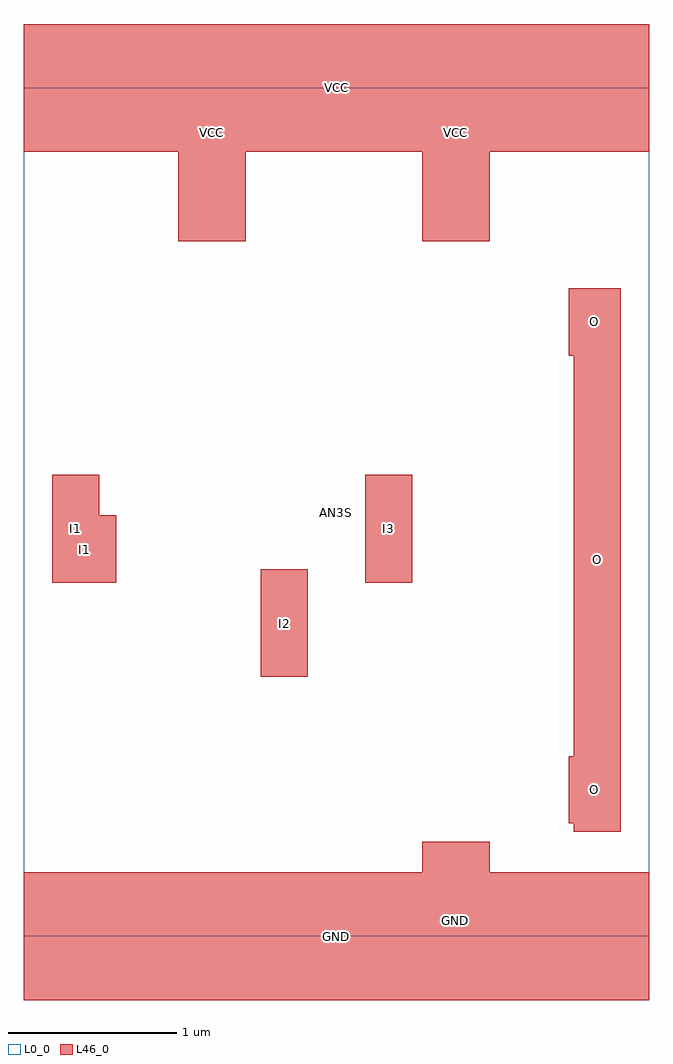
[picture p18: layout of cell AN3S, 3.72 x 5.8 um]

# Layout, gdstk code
import gdstk
lib = gdstk.Library(unit=1e-6, precision=1e-09)
def R(c, l, rs):  # rectangles x0, y0, x1, y1
    for r in rs: c.add(gdstk.rectangle(r[:2], r[2:], *l))
L0_0 = (0, 0)
L46_0 = (46, 0)

an3s = lib.new_cell('AN3S')
R(an3s, L0_0, [(0,0,3.72,5.04)])
R(an3s, L46_0, [(0,-0.38,3.72,0.38), (2.37,-0.38,2.77,0.56), (3.27,0.62,3.55,3.85), (3.24,0.67,3.55,1.07), (1.41,1.54,1.69,2.18), (0.17,2.1,0.45,2.74), (0.17,2.1,0.55,2.5), (2.03,2.1,2.31,2.74), (3.24,3.45,3.55,3.85), (0.92,4.13,1.32,5.42), (2.37,4.13,2.77,5.42), (0,4.66,3.72,5.42)])
an3s.add(gdstk.Label('AN3S', (1.86,2.52), layer=0, texttype=0))
an3s.add(gdstk.Label('O', (3.41,2.235), layer=101, texttype=0))
an3s.add(gdstk.Label('O', (3.395,3.65), layer=101, texttype=0))
an3s.add(gdstk.Label('O', (3.395,0.87), layer=101, texttype=0))
an3s.add(gdstk.Label('I2', (1.55,1.86), layer=101, texttype=0))
an3s.add(gdstk.Label('I1', (0.36,2.3), layer=101, texttype=0))
an3s.add(gdstk.Label('I1', (0.31,2.42), layer=101, texttype=0))
an3s.add(gdstk.Label('I3', (2.17,2.42), layer=101, texttype=0))
an3s.add(gdstk.Label('GND', (1.86,0), layer=101, texttype=0))
an3s.add(gdstk.Label('GND', (2.57,0.09), layer=101, texttype=0))
an3s.add(gdstk.Label('VCC', (2.57,4.775), layer=101, texttype=0))
an3s.add(gdstk.Label('VCC', (1.86,5.04), layer=101, texttype=0))
an3s.add(gdstk.Label('VCC', (1.12,4.775), layer=101, texttype=0))

lib.write_gds('AN3S.gds')
